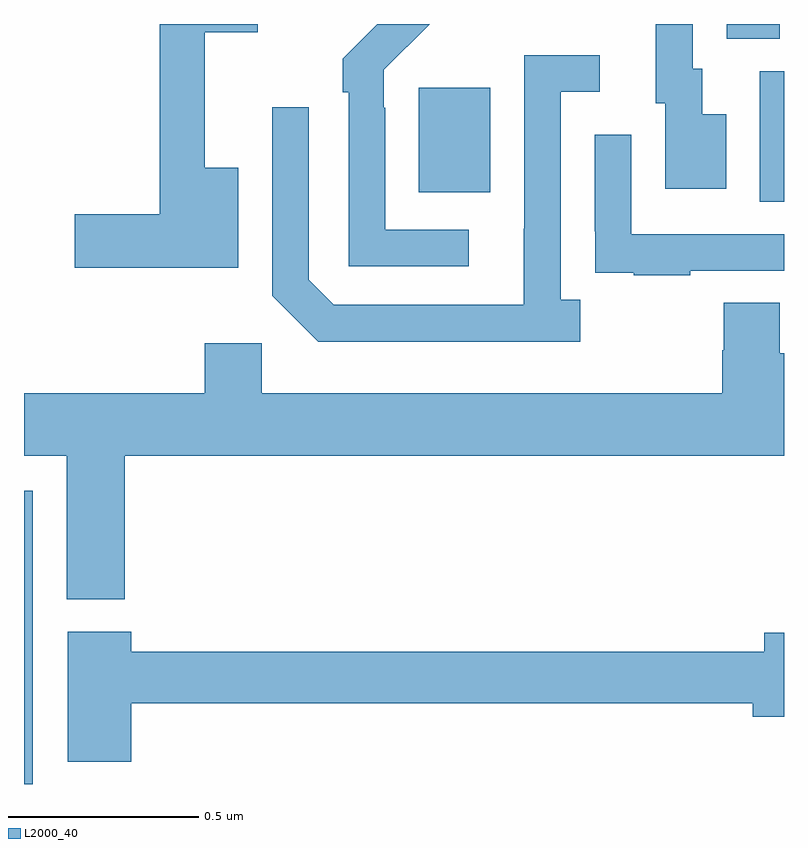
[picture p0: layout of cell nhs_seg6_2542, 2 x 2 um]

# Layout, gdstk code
import gdstk
lib = gdstk.Library(unit=1e-6, precision=1e-09)
def R(c, l, rs):  # rectangles x0, y0, x1, y1
    for r in rs: c.add(gdstk.rectangle(r[:2], r[2:], *l))
def P(c, l, *ps):  # polygons
    for p in ps: c.add(gdstk.Polygon(p, *l))
L2000_40 = (2000, 40)

nhs_seg6_2542 = lib.new_cell('nhs_seg6_2542')
R(nhs_seg6_2542, L2000_40, [(145,918.5,145.023,919.272), (146.936,920.032,147,920.376), (146.039,920.057,146.227,920.332), (146.849,920.461,146.989,920.5)])
P(nhs_seg6_2542, L2000_40, [(146.17,919.959),(145.95,919.959),(145.95,920.279),(145.947,920.279),(145.947,920.379),(146.068,920.5),(145.93,920.5),(145.839,920.409),(145.839,920.321),(145.854,920.321),(145.854,919.863),(146.17,919.863)],
  [(146.848,920.263),(146.785,920.263),(146.785,920.382),(146.76,920.382),(146.76,920.5),(146.663,920.5),(146.663,920.292),(146.687,920.292),(146.687,920.067),(146.848,920.067)],
  [(145.564,920.122),(145.475,920.122),(145.475,920.478),(145.615,920.478),(145.615,920.5),(145.357,920.5),(145.357,920),(145.134,920),(145.134,919.858),(145.564,919.858)],
  [(146.464,919.774),(146.412,919.774),(146.412,920.322),(146.515,920.322),(146.515,920.418),(146.316,920.418),(146.316,919.961),(146.315,919.961),(146.315,919.761),(145.815,919.761),(145.749,919.827),(145.749,920.281),(145.653,920.281),(145.653,919.785),(145.774,919.664),(146.464,919.664)],
  [(146.753,919.851),(147,919.851),(147,919.947),(146.598,919.947),(146.598,920.209),(146.502,920.209),(146.502,919.954),(146.503,919.954),(146.503,919.845),(146.605,919.845),(146.605,919.839),(146.753,919.839)],
  [(145.265,919.364),(147,919.364),(147,919.634),(146.989,919.634),(146.989,919.766),(146.842,919.766),(146.842,919.641),(146.837,919.641),(146.837,919.528),(145.626,919.528),(145.626,919.66),(145.475,919.66),(145.475,919.528),(145,919.528),(145,919.364),(145.112,919.364),(145.112,918.986),(145.265,918.986)],
  [(145.282,918.712),(146.918,918.712),(146.918,918.677),(147,918.677),(147,918.898),(146.948,918.898),(146.948,918.848),(145.282,918.848),(145.282,918.901),(145.115,918.901),(145.115,918.558),(145.282,918.558)])

lib.write_gds('nhs_seg6_2542.gds')
